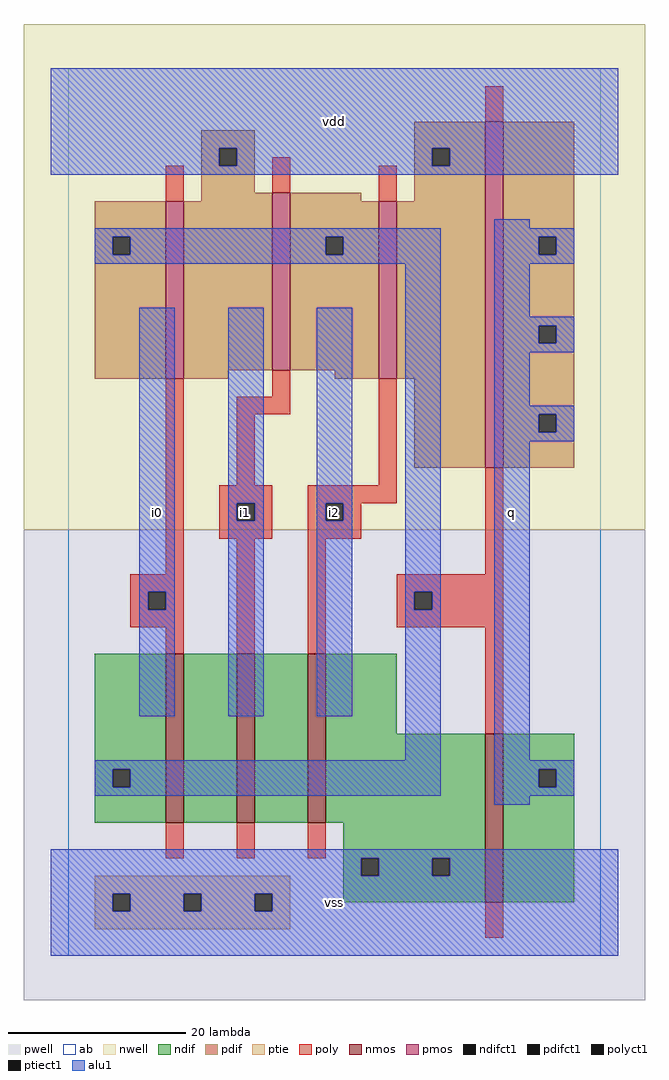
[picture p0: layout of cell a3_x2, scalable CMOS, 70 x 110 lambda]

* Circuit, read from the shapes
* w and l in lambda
.subckt a3_x2 i0 i1 i2 q vdd vss
M1 n1 i0 n2 vss nfet w=19 l=2
M2 n3 i1 n1 vss nfet w=19 l=2
M3 vss i2 n3 vss nfet w=19 l=2
M4 q n2 vss vss nfet w=19 l=2
M5 vdd i0 n2 n4 pfet w=20 l=2
M6 n2 i1 vdd n4 pfet w=20 l=2
M7 vdd i2 n2 n4 pfet w=20 l=2
M8 q n2 vdd n4 pfet w=39 l=2
.ends

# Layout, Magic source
magic
tech scmos
<< ab >>
rect 0 0 60 100
<< nwell >>
rect -5 48 65 105
<< pwell >>
rect -5 -5 65 48
<< poly >>
rect 47 94 49 98
rect 11 85 13 89
rect 23 86 25 90
rect 35 85 37 89
rect 11 43 13 65
rect 23 63 25 66
rect 19 61 25 63
rect 19 53 21 61
rect 35 53 37 65
rect 17 51 23 53
rect 17 49 19 51
rect 21 49 23 51
rect 17 47 23 49
rect 27 51 37 53
rect 27 49 29 51
rect 31 49 33 51
rect 27 47 33 49
rect 7 41 13 43
rect 7 39 9 41
rect 11 39 13 41
rect 7 37 13 39
rect 11 34 13 37
rect 19 34 21 47
rect 27 34 29 47
rect 47 43 49 55
rect 37 41 49 43
rect 37 39 39 41
rect 41 39 49 41
rect 37 37 49 39
rect 47 25 49 37
rect 11 11 13 15
rect 19 11 21 15
rect 27 11 29 15
rect 47 2 49 6
<< ndif >>
rect 3 21 11 34
rect 3 19 5 21
rect 7 19 11 21
rect 3 15 11 19
rect 13 15 19 34
rect 21 15 27 34
rect 29 25 37 34
rect 29 15 47 25
rect 31 11 47 15
rect 31 9 33 11
rect 35 9 41 11
rect 43 9 47 11
rect 31 6 47 9
rect 49 21 57 25
rect 49 19 53 21
rect 55 19 57 21
rect 49 6 57 19
<< pdif >>
rect 15 91 21 93
rect 15 89 17 91
rect 19 89 21 91
rect 39 91 47 94
rect 15 86 21 89
rect 39 89 41 91
rect 43 89 47 91
rect 15 85 23 86
rect 3 81 11 85
rect 3 79 5 81
rect 7 79 11 81
rect 3 65 11 79
rect 13 66 23 85
rect 25 85 33 86
rect 39 85 47 89
rect 25 81 35 85
rect 25 79 29 81
rect 31 79 35 81
rect 25 66 35 79
rect 13 65 18 66
rect 30 65 35 66
rect 37 65 47 85
rect 39 55 47 65
rect 49 81 57 94
rect 49 79 53 81
rect 55 79 57 81
rect 49 71 57 79
rect 49 69 53 71
rect 55 69 57 71
rect 49 61 57 69
rect 49 59 53 61
rect 55 59 57 61
rect 49 55 57 59
<< alu1 >>
rect -2 91 62 100
rect -2 89 17 91
rect 19 89 41 91
rect 43 89 62 91
rect -2 88 62 89
rect 48 82 52 83
rect 3 81 42 82
rect 3 79 5 81
rect 7 79 29 81
rect 31 79 42 81
rect 3 78 42 79
rect 8 41 12 73
rect 8 39 9 41
rect 11 39 12 41
rect 8 27 12 39
rect 18 51 22 73
rect 18 49 19 51
rect 21 49 22 51
rect 18 27 22 49
rect 28 51 32 73
rect 28 49 29 51
rect 31 49 32 51
rect 28 27 32 49
rect 38 41 42 78
rect 38 39 39 41
rect 41 39 42 41
rect 38 22 42 39
rect 3 21 42 22
rect 3 19 5 21
rect 7 19 42 21
rect 3 18 42 19
rect 48 81 57 82
rect 48 79 53 81
rect 55 79 57 81
rect 48 78 57 79
rect 48 72 52 78
rect 48 71 57 72
rect 48 69 53 71
rect 55 69 57 71
rect 48 68 57 69
rect 48 62 52 68
rect 48 61 57 62
rect 48 59 53 61
rect 55 59 57 61
rect 48 58 57 59
rect 48 22 52 58
rect 48 21 57 22
rect 48 19 53 21
rect 55 19 57 21
rect 48 18 57 19
rect 48 17 52 18
rect -2 11 62 12
rect -2 9 33 11
rect 35 9 41 11
rect 43 9 62 11
rect -2 7 62 9
rect -2 5 5 7
rect 7 5 13 7
rect 15 5 21 7
rect 23 5 62 7
rect -2 0 62 5
<< ptie >>
rect 3 7 25 9
rect 3 5 5 7
rect 7 5 13 7
rect 15 5 21 7
rect 23 5 25 7
rect 3 3 25 5
<< nmos >>
rect 11 15 13 34
rect 19 15 21 34
rect 27 15 29 34
rect 47 6 49 25
<< pmos >>
rect 11 65 13 85
rect 23 66 25 86
rect 35 65 37 85
rect 47 55 49 94
<< polyct1 >>
rect 19 49 21 51
rect 29 49 31 51
rect 9 39 11 41
rect 39 39 41 41
<< ndifct1 >>
rect 5 19 7 21
rect 33 9 35 11
rect 41 9 43 11
rect 53 19 55 21
<< ptiect1 >>
rect 5 5 7 7
rect 13 5 15 7
rect 21 5 23 7
<< pdifct1 >>
rect 17 89 19 91
rect 41 89 43 91
rect 5 79 7 81
rect 29 79 31 81
rect 53 79 55 81
rect 53 69 55 71
rect 53 59 55 61
<< labels >>
rlabel alu1 10 50 10 50 6 i0
rlabel polyct1 20 50 20 50 6 i1
rlabel alu1 30 6 30 6 6 vss
rlabel polyct1 30 50 30 50 6 i2
rlabel alu1 30 94 30 94 6 vdd
rlabel alu1 50 50 50 50 6 q
<< end >>
